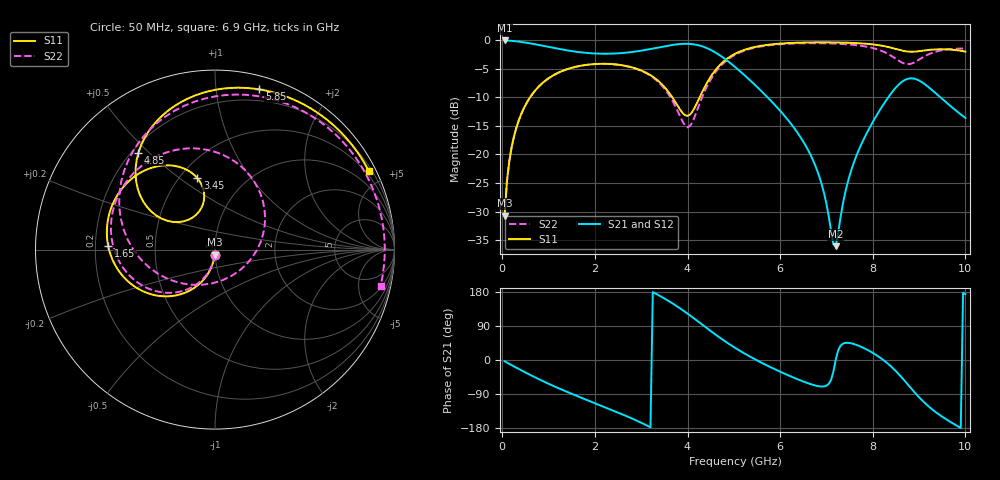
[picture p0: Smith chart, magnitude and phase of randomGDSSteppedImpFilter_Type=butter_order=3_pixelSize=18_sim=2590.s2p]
! freq	dB(S11)	phase(S11)	dB(S12)	phase(S12)
!  dB(S21)	phase(S21)	dB(S22)	phase(S22)
!S-par simulation data
#  GHz  S  DB  R 50
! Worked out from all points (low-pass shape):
!   200 points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, 50 MHz to 10 GHz, reference 50 ohm
!   highest |S21| = -0.01 dB at 50 MHz (marker M1); lowest = -36.1 dB at 7.2 GHz (marker M2)
!   |S21| within 3 dB of the highest: start of sweep to 4.767 GHz
!   lowest |S11| = -30.7 dB at 50 MHz (marker M3), VSWR 1.06, Z = 49.7 - j2.9 ohm
!   |S11| at or under -10 dB: start of sweep to 598.2 MHz; 3.672 GHz to 4.26 GHz (588.1 MHz wide, 14.8 % of centre)
!   |S22| runs from -30.7 to -0.5 dB; largest |S21 - S12| = 0
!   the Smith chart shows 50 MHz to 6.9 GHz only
!   S11 on the Smith chart (normalised r, x): 50 MHz: 0.99, -0.06; 1.65 GHz: 0.25, +0.02; 3.45 GHz: 0.61, +0.58; 4.85 GHz: 0.23, +0.46; 5.85 GHz: 0.10, +1.31; 6.9 GHz: 0.35, +4.13
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0.05  -30.71 -93.3  -0.01 -3.4  -0.01 -3.4  -30.71 -93.6
0.2  -18.80 -103.3  -0.08 -13.5  -0.08 -13.5  -18.80 -104.5
0.45  -12.16 -119.0  -0.32 -29.8  -0.32 -29.8  -12.16 -121.6
1.65  -4.51 178.2  -2.04 -96.8  -2.04 -96.8  -4.52 167.2
1.75  -4.36 173.7  -2.14 -101.8  -2.14 -101.8  -4.37 161.9
2.7  -4.52 133.1  -2.13 -149.1  -2.13 -149.1  -4.56 108.7
3.4  -7.33 105.4  -1.19 169.4  -1.19 169.4  -7.53 55.6
3.45  -7.73 103.9  -1.11 165.9  -1.11 165.9  -7.96 50.6
4.2  -11.04 146.7  -0.78 104.3  -0.78 104.3  -12.39 -125.6
4.85  -3.24 128.3  -3.50 46.0  -3.50 46.0  -3.47 139.1
5.05  -2.25 116.7  -4.82 30.2  -4.82 30.2  -2.42 119.7
5.85  -0.67 74.5  -11.01 -22.4  -11.01 -22.4  -0.78 57.2
6.7  -0.34 35.7  -20.84 -65.3  -20.84 -65.3  -0.48 0.9
6.9  -0.33 27.0  -25.32 -70.1  -25.32 -70.1  -0.50 -12.2
7.2  -0.35 14.1  -36.08 0.2  -36.08 0.2  -0.57 -32.6
7.9  -0.62 -15.9  -15.78 25.6  -15.78 25.6  -1.15 -89.8
8.35  -1.18 -35.0  -9.80 -12.2  -9.80 -12.2  -2.46 -150.3
8.6  -1.72 -43.8  -7.45 -42.5  -7.45 -42.5  -3.76 152.9
8.85  -1.99 -50.2  -6.65 -78.0  -6.65 -78.0  -4.03 78.4
9.25  -1.64 -64.3  -8.50 -127.0  -8.50 -127.0  -2.28 -11.8
9.6  -1.57 -81.8  -10.97 -157.6  -10.97 -157.6  -1.59 -57.4
10  -1.96 -106.2  -13.61 173.8  -13.61 173.8  -1.42 -95.2
